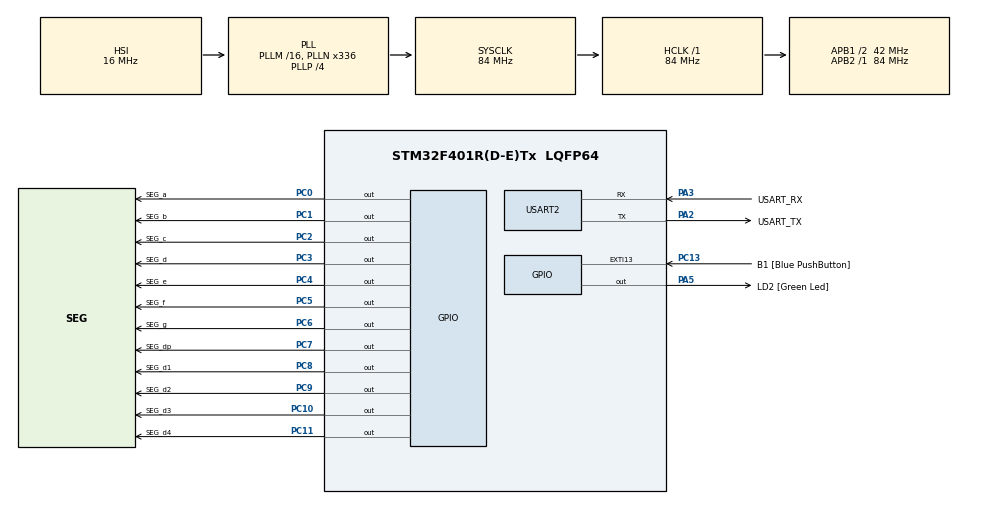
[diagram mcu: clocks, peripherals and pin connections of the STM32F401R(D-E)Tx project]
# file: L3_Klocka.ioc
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Mcu.Family=STM32F4
Mcu.Name=STM32F401R(D-E)Tx
Mcu.Package=LQFP64
NVIC.PriorityGroup=NVIC_PRIORITYGROUP_0
NVIC.TIM1_UP_TIM10_IRQn=true\:0\:0\:false\:false\:true\:true
PA13.GPIO_Label=TMS
PA13.Mode=Serial_Wire
PA13.Signal=SYS_JTMS-SWDIO
PA14.GPIO_Label=TCK
PA14.Mode=Serial_Wire
PA14.Signal=SYS_JTCK-SWCLK
PA2.GPIO_Label=USART_TX
PA2.GPIO_Mode=GPIO_MODE_AF_PP
PA2.GPIO_PuPd=GPIO_NOPULL
PA2.GPIO_Speed=GPIO_SPEED_FREQ_LOW
PA2.Mode=Asynchronous
PA2.Signal=USART2_TX
PA3.GPIO_Label=USART_RX
PA3.GPIO_Mode=GPIO_MODE_AF_PP
PA3.GPIO_PuPd=GPIO_NOPULL
PA3.GPIO_Speed=GPIO_SPEED_FREQ_LOW
PA3.Mode=Asynchronous
PA3.Signal=USART2_RX
PA5.GPIO_Label=LD2 [Green Led]
PA5.GPIO_Mode=GPIO_MODE_OUTPUT_PP
PA5.GPIO_PuPd=GPIO_NOPULL
PA5.GPIO_Speed=GPIO_SPEED_FREQ_LOW
PA5.Signal=GPIO_Output
PB3.GPIO_Label=SWO
PB3.Signal=SYS_JTDO-SWO
PC0.GPIO_Label=SEG_a
PC0.Signal=GPIO_Output
PC1.GPIO_Label=SEG_b
PC1.Signal=GPIO_Output
PC10.GPIO_Label=SEG_d3
PC10.Signal=GPIO_Output
PC11.GPIO_Label=SEG_d4
PC11.Signal=GPIO_Output
PC13-ANTI_TAMP.GPIO_Label=B1 [Blue PushButton]
PC13-ANTI_TAMP.GPIO_ModeDefaultEXTI=GPIO_MODE_IT_FALLING
PC13-ANTI_TAMP.GPIO_PuPd=GPIO_NOPULL
PC13-ANTI_TAMP.Signal=GPXTI13
PC14-OSC32_IN.Mode=LSE-External-Clock-Source
PC14-OSC32_IN.Signal=RCC_OSC32_IN
PC15-OSC32_OUT.Mode=LSE-External-Clock-Source
PC15-OSC32_OUT.Signal=RCC_OSC32_OUT
PC2.GPIO_Label=SEG_c
PC2.Signal=GPIO_Output
PC3.GPIO_Label=SEG_d
PC3.Signal=GPIO_Output
PC4.GPIO_Label=SEG_e
PC4.Signal=GPIO_Output
PC5.GPIO_Label=SEG_f
PC5.Signal=GPIO_Output
PC6.GPIO_Label=SEG_g
PC6.Signal=GPIO_Output
PC7.GPIO_Label=SEG_dp
PC7.Signal=GPIO_Output
PC8.GPIO_Label=SEG_d1
PC8.Signal=GPIO_Output
PC9.GPIO_Label=SEG_d2
PC9.Signal=GPIO_Output
PH0\ -\ OSC_IN.Mode=HSE-External-Clock-Source
PH0\ -\ OSC_IN.Signal=RCC_OSC_IN
PH1\ -\ OSC_OUT.Mode=HSE-External-Clock-Source
PH1\ -\ OSC_OUT.Signal=RCC_OSC_OUT
ProjectManager.HeapSize=0x200
ProjectManager.StackSize=0x400
ProjectManager.TargetToolchain=TrueSTUDIO
RCC.48MHZClocksFreq_Value=48000000
RCC.AHBFreq_Value=84000000
RCC.APB1CLKDivider=RCC_HCLK_DIV2
RCC.APB1Freq_Value=42000000
RCC.APB1TimFreq_Value=84000000
RCC.APB2Freq_Value=84000000
RCC.APB2TimFreq_Value=84000000
RCC.CortexFreq_Value=84000000
RCC.HCLKFreq_Value=84000000
RCC.HSE_VALUE=8000000
RCC.HSI_VALUE=16000000
RCC.LSE_VALUE=0.00000000000003276799999999999
RCC.PLLN=336
RCC.PLLP=RCC_PLLP_DIV4
RCC.PLLQ=7
RCC.SYSCLKFreq_VALUE=84000000
RCC.SYSCLKSource=RCC_SYSCLKSOURCE_PLLCLK
RCC.VCOOutputFreq_Value=336000000
TIM10.Period=62499
TIM10.Prescaler=1343
USART2.VirtualMode=VM_ASYNC
VP_TIM10_VS_ClockSourceINT.Mode=Enable_Timer
board=NUCLEO-F401RE

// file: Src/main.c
/**
  ******************************************************************************
  * @file           : main.c
  * @brief          : Main program body
  ******************************************************************************
  ** This notice applies to any and all portions of this file
  * that are not between comment pairs USER CODE BEGIN and
  * USER CODE END. Other portions of this file, whether
  * inserted by the user or by software development tools
  * are owned by their respective copyright owners.
  *
  * COPYRIGHT(c) 2018 STMicroelectronics
  *
  * Redistribution and use in source and binary forms, with or without modification,
  * are permitted provided that the following conditions are met:
  *   1. Redistributions of source code must retain the above copyright notice,
  *      this list of conditions and the following disclaimer.
  *   2. Redistributions in binary form must reproduce the above copyright notice,
  *      this list of conditions and the following disclaimer in the documentation
  *      and/or other materials provided with the distribution.
  *   3. Neither the name of STMicroelectronics nor the names of its contributors
  *      may be used to endorse or promote products derived from this software
  *      without specific prior written permission.
  *
  * THIS SOFTWARE IS PROVIDED BY THE COPYRIGHT HOLDERS AND CONTRIBUTORS "AS IS"
  * AND ANY EXPRESS OR IMPLIED WARRANTIES, INCLUDING, BUT NOT LIMITED TO, THE
  * IMPLIED WARRANTIES OF MERCHANTABILITY AND FITNESS FOR A PARTICULAR PURPOSE ARE
  * DISCLAIMED. IN NO EVENT SHALL THE COPYRIGHT HOLDER OR CONTRIBUTORS BE LIABLE
  * FOR ANY DIRECT, INDIRECT, INCIDENTAL, SPECIAL, EXEMPLARY, OR CONSEQUENTIAL
  * DAMAGES (INCLUDING, BUT NOT LIMITED TO, PROCUREMENT OF SUBSTITUTE GOODS OR
  * SERVICES; LOSS OF USE, DATA, OR PROFITS; OR BUSINESS INTERRUPTION) HOWEVER
  * CAUSED AND ON ANY THEORY OF LIABILITY, WHETHER IN CONTRACT, STRICT LIABILITY,
  * OR TORT (INCLUDING NEGLIGENCE OR OTHERWISE) ARISING IN ANY WAY OUT OF THE USE
  * OF THIS SOFTWARE, EVEN IF ADVISED OF THE POSSIBILITY OF SUCH DAMAGE.
  *
  ******************************************************************************
  */
#include "main.h"
#include "stm32f4xx_hal.h"

TIM_HandleTypeDef htim10;

UART_HandleTypeDef huart2;

/* USER CODE BEGIN PV */
/* Private variables ---------------------------------------------------------*/
volatile uint32_t sekTick=0, msekTick=0;

/* USER CODE END PV */

void SystemClock_Config(void);
static void MX_GPIO_Init(void);
static void MX_USART2_UART_Init(void);
static void MX_TIM10_Init(void);

/* USER CODE BEGIN PFP */
/* Private function prototypes -----------------------------------------------*/

/* USER CODE END PFP */

int main(void)
{
  /* USER CODE BEGIN 1 */

	uint8_t s_seg[] = { 0x3F, 0x6, 0x5B, 0x4F, 0x66, 0x6D, 0x7D, 0x7, 0x7F, 0x67 };

  /* USER CODE END 1 */

  /* MCU Configuration----------------------------------------------------------*/

  /* Reset of all peripherals, Initializes the Flash interface and the Systick. */
  HAL_Init();

  /* Configure the system clock */
  SystemClock_Config();

  /* Initialize all configured peripherals */
  MX_GPIO_Init();
  MX_USART2_UART_Init();
  MX_TIM10_Init();

  /* Infinite loop */

  /* USER CODE BEGIN WHILE */

  HAL_TIM_Base_Start_IT(&htim10);

  while (1)
  {
	  int i = sekTick%10;
	  GPIOC-> ODR &=~ 0xFF;
	  GPIOC-> ODR |= s_seg[i];
	  HAL_GPIO_WritePin(SEG_d4_GPIO_Port, SEG_d4_Pin, GPIO_PIN_RESET);
	  HAL_Delay(2);
	  HAL_GPIO_WritePin(SEG_d4_GPIO_Port, SEG_d4_Pin, GPIO_PIN_SET);
	  HAL_Delay(1);

	  int j = ( (sekTick%60) - (sekTick%10) )/10;
	  GPIOC-> ODR &=~ 0xFF;
	  GPIOC-> ODR |= s_seg[j];
	  HAL_GPIO_WritePin(SEG_d3_GPIO_Port, SEG_d3_Pin, GPIO_PIN_RESET);
	  HAL_Delay(2);
	  HAL_GPIO_WritePin(SEG_d3_GPIO_Port, SEG_d3_Pin, GPIO_PIN_SET);
	  HAL_Delay(1);

	  int k = (sekTick/60) % 10;
	  GPIOC-> ODR &=~ 0xFF;
	  GPIOC-> ODR |= s_seg[k];
      HAL_GPIO_WritePin(SEG_d2_GPIO_Port, SEG_d2_Pin, GPIO_PIN_RESET);
	  HAL_Delay(2);
	  HAL_GPIO_WritePin(SEG_d2_GPIO_Port, SEG_d2_Pin, GPIO_PIN_SET);
	  HAL_Delay(1);

	  int l = (sekTick/600) % 6;
	  GPIOC -> ODR &=~ 0xFF;
	  GPIOC -> ODR |= s_seg[l];
	  HAL_GPIO_WritePin(SEG_d1_GPIO_Port, SEG_d1_Pin, GPIO_PIN_RESET);
	  HAL_Delay(2);
	  HAL_GPIO_WritePin(SEG_d1_GPIO_Port, SEG_d1_Pin, GPIO_PIN_SET);
	  HAL_Delay(1);

  }

  /* USER CODE END WHILE */

}

void SystemClock_Config(void)
{

  RCC_OscInitTypeDef RCC_OscInitStruct;
  RCC_ClkInitTypeDef RCC_ClkInitStruct;

    /**Configure the main internal regulator output voltage
    */
  __HAL_RCC_PWR_CLK_ENABLE();

  __HAL_PWR_VOLTAGESCALING_CONFIG(PWR_REGULATOR_VOLTAGE_SCALE2);

    /**Initializes the CPU, AHB and APB busses clocks
    */
  RCC_OscInitStruct.OscillatorType = RCC_OSCILLATORTYPE_HSI;
  RCC_OscInitStruct.HSIState = RCC_HSI_ON;
  RCC_OscInitStruct.HSICalibrationValue = 16;
  RCC_OscInitStruct.PLL.PLLState = RCC_PLL_ON;
  RCC_OscInitStruct.PLL.PLLSource = RCC_PLLSOURCE_HSI;
  RCC_OscInitStruct.PLL.PLLM = 16;
  RCC_OscInitStruct.PLL.PLLN = 336;
  RCC_OscInitStruct.PLL.PLLP = RCC_PLLP_DIV4;
  RCC_OscInitStruct.PLL.PLLQ = 7;
  if (HAL_RCC_OscConfig(&RCC_OscInitStruct) != HAL_OK)
  {
    _Error_Handler(__FILE__, __LINE__);
  }

    /**Initializes the CPU, AHB and APB busses clocks
    */
  RCC_ClkInitStruct.ClockType = RCC_CLOCKTYPE_HCLK|RCC_CLOCKTYPE_SYSCLK
                              |RCC_CLOCKTYPE_PCLK1|RCC_CLOCKTYPE_PCLK2;
  RCC_ClkInitStruct.SYSCLKSource = RCC_SYSCLKSOURCE_PLLCLK;
  RCC_ClkInitStruct.AHBCLKDivider = RCC_SYSCLK_DIV1;
  RCC_ClkInitStruct.APB1CLKDivider = RCC_HCLK_DIV2;
  RCC_ClkInitStruct.APB2CLKDivider = RCC_HCLK_DIV1;

  if (HAL_RCC_ClockConfig(&RCC_ClkInitStruct, FLASH_LATENCY_2) != HAL_OK)
  {
    _Error_Handler(__FILE__, __LINE__);
  }

    /**Configure the Systick interrupt time
    */
  HAL_SYSTICK_Config(HAL_RCC_GetHCLKFreq()/1000);

    /**Configure the Systick
    */
  HAL_SYSTICK_CLKSourceConfig(SYSTICK_CLKSOURCE_HCLK);

  /* SysTick_IRQn interrupt configuration */
  HAL_NVIC_SetPriority(SysTick_IRQn, 0, 0);
}

/* TIM10 init function */
static void MX_TIM10_Init(void)
{

  htim10.Instance = TIM10;
  htim10.Init.Prescaler = 1343;
  htim10.Init.CounterMode = TIM_COUNTERMODE_UP;
  htim10.Init.Period = 62499;
  htim10.Init.ClockDivision = TIM_CLOCKDIVISION_DIV1;
  if (HAL_TIM_Base_Init(&htim10) != HAL_OK)
  {
    _Error_Handler(__FILE__, __LINE__);
  }

}

/* USART2 init function */
static void MX_USART2_UART_Init(void)
{

  huart2.Instance = USART2;
  huart2.Init.BaudRate = 115200;
  huart2.Init.WordLength = UART_WORDLENGTH_8B;
  huart2.Init.StopBits = UART_STOPBITS_1;
  huart2.Init.Parity = UART_PARITY_NONE;
  huart2.Init.Mode = UART_MODE_TX_RX;
  huart2.Init.HwFlowCtl = UART_HWCONTROL_NONE;
  huart2.Init.OverSampling = UART_OVERSAMPLING_16;
  if (HAL_UART_Init(&huart2) != HAL_OK)
  {
    _Error_Handler(__FILE__, __LINE__);
  }

}

/** Configure pins as
        * Analog
        * Input
        * Output
        * EVENT_OUT
        * EXTI
*/
static void MX_GPIO_Init(void)
{

  GPIO_InitTypeDef GPIO_InitStruct;

  /* GPIO Ports Clock Enable */
  __HAL_RCC_GPIOC_CLK_ENABLE();
  __HAL_RCC_GPIOH_CLK_ENABLE();
  __HAL_RCC_GPIOA_CLK_ENABLE();
  __HAL_RCC_GPIOB_CLK_ENABLE();

  /*Configure GPIO pin Output Level */
  HAL_GPIO_WritePin(GPIOC, SEG_a_Pin|SEG_b_Pin|SEG_c_Pin|SEG_d_Pin
                          |SEG_e_Pin|SEG_f_Pin|SEG_g_Pin|SEG_dp_Pin
                          |SEG_d1_Pin|SEG_d2_Pin|SEG_d3_Pin|SEG_d4_Pin, GPIO_PIN_RESET);

  /*Configure GPIO pin Output Level */
  HAL_GPIO_WritePin(LD2_GPIO_Port, LD2_Pin, GPIO_PIN_RESET);

  /*Configure GPIO pin : B1_Pin */
  GPIO_InitStruct.Pin = B1_Pin;
  GPIO_InitStruct.Mode = GPIO_MODE_IT_FALLING;
  GPIO_InitStruct.Pull = GPIO_NOPULL;
  HAL_GPIO_Init(B1_GPIO_Port, &GPIO_InitStruct);

  /*Configure GPIO pins : SEG_a_Pin SEG_b_Pin SEG_c_Pin SEG_d_Pin
                           SEG_e_Pin SEG_f_Pin SEG_g_Pin SEG_dp_Pin
                           SEG_d1_Pin SEG_d2_Pin SEG_d3_Pin SEG_d4_Pin */
  GPIO_InitStruct.Pin = SEG_a_Pin|SEG_b_Pin|SEG_c_Pin|SEG_d_Pin
                         |SEG_e_Pin|SEG_f_Pin|SEG_g_Pin|SEG_dp_Pin
                          |SEG_d1_Pin|SEG_d2_Pin|SEG_d3_Pin|SEG_d4_Pin;
  GPIO_InitStruct.Mode = GPIO_MODE_OUTPUT_PP;
  GPIO_InitStruct.Pull = GPIO_NOPULL;
  GPIO_InitStruct.Speed = GPIO_SPEED_FREQ_LOW;
  HAL_GPIO_Init(GPIOC, &GPIO_InitStruct);

  /*Configure GPIO pin : LD2_Pin */
  GPIO_InitStruct.Pin = LD2_Pin;
  GPIO_InitStruct.Mode = GPIO_MODE_OUTPUT_PP;
  GPIO_InitStruct.Pull = GPIO_NOPULL;
  GPIO_InitStruct.Speed = GPIO_SPEED_FREQ_LOW;
  HAL_GPIO_Init(LD2_GPIO_Port, &GPIO_InitStruct);

}

void _Error_Handler(char *file, int line)
{
  while(1)
  {
  }
}

/************************ (C) COPYRIGHT STMicroelectronics *****END OF FILE****/
